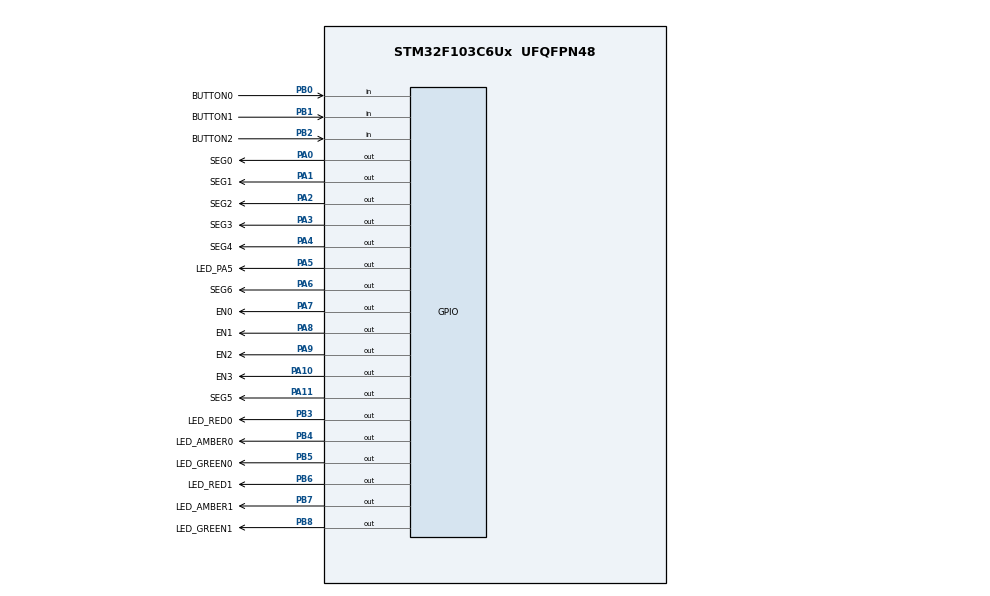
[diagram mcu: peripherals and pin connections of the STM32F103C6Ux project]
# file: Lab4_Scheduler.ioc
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Mcu.Family=STM32F1
Mcu.Name=STM32F103C6Ux
Mcu.Package=UFQFPN48
NVIC.PriorityGroup=NVIC_PRIORITYGROUP_4
NVIC.TIM2_IRQn=true\:0\:0\:false\:false\:true\:true\:true\:true
PA0-WKUP.GPIO_Label=SEG0
PA0-WKUP.Signal=GPIO_Output
PA1.GPIO_Label=SEG1
PA1.Signal=GPIO_Output
PA10.GPIO_Label=EN3
PA10.Signal=GPIO_Output
PA11.GPIO_Label=SEG5
PA11.Signal=GPIO_Output
PA2.GPIO_Label=SEG2
PA2.Signal=GPIO_Output
PA3.GPIO_Label=SEG3
PA3.Signal=GPIO_Output
PA4.GPIO_Label=SEG4
PA4.Signal=GPIO_Output
PA5.GPIO_Label=LED_PA5
PA5.Signal=GPIO_Output
PA6.GPIO_Label=SEG6
PA6.Signal=GPIO_Output
PA7.GPIO_Label=EN0
PA7.Signal=GPIO_Output
PA8.GPIO_Label=EN1
PA8.Signal=GPIO_Output
PA9.GPIO_Label=EN2
PA9.Signal=GPIO_Output
PB0.GPIO_Label=BUTTON0
PB0.Signal=GPIO_Input
PB1.GPIO_Label=BUTTON1
PB1.Signal=GPIO_Input
PB2.GPIO_Label=BUTTON2
PB2.Signal=GPIO_Input
PB3.GPIO_Label=LED_RED0
PB3.Signal=GPIO_Output
PB4.GPIO_Label=LED_AMBER0
PB4.Signal=GPIO_Output
PB5.GPIO_Label=LED_GREEN0
PB5.Signal=GPIO_Output
PB6.GPIO_Label=LED_RED1
PB6.Signal=GPIO_Output
PB7.GPIO_Label=LED_AMBER1
PB7.Signal=GPIO_Output
PB8.GPIO_Label=LED_GREEN1
PB8.Signal=GPIO_Output
ProjectManager.HeapSize=0x200
ProjectManager.StackSize=0x400
ProjectManager.TargetToolchain=STM32CubeIDE
RCC.APB1Freq_Value=8000000
RCC.APB2Freq_Value=8000000
TIM2.Period=9
TIM2.Prescaler=7999
VP_SYS_VS_ND.Mode=No_Debug
VP_TIM2_VS_ClockSourceINT.Mode=Internal
board=custom

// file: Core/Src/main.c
/* USER CODE BEGIN Header */
/**
  ******************************************************************************
  * @file           : main.c
  * @brief          : Main program body
  ******************************************************************************
  * @attention
  *
  * Copyright (c) 2025 STMicroelectronics.
  * All rights reserved.
  *
  * This software is licensed under terms that can be found in the LICENSE file
  * in the root directory of this software component.
  * If no LICENSE file comes with this software, it is provided AS-IS.
  *
  ******************************************************************************
  */
/* USER CODE END Header */
#include "main.h"

/* USER CODE BEGIN Includes */
#include "auto_mode.h"
#include "configure_mode.h"
#include "button.h"
#include "software_timer.h"
#include "control_display.h"
#include "scheduler.h"
/* USER CODE END Includes */

TIM_HandleTypeDef htim2;

void SystemClock_Config(void);
static void MX_GPIO_Init(void);
static void MX_TIM2_Init(void);

/* USER CODE BEGIN 0 */
void Display4LED(){
	if(index_led > 3) index_led = 0;
	update7SEG(index_led++);
}
void ModeDisplay(){
	auto_mode();
	configure_mode();
}
void DisplayLEDPA5(){
	HAL_GPIO_TogglePin(LED_PA5_GPIO_Port, LED_PA5_Pin);
}
/* USER CODE END 0 */

int main(void)
{

  /* MCU Configuration--------------------------------------------------------*/

  /* Reset of all peripherals, Initializes the Flash interface and the Systick. */
  HAL_Init();

  /* Configure the system clock */
  SystemClock_Config();

  /* Initialize all configured peripherals */
  MX_GPIO_Init();
  MX_TIM2_Init();
  /* USER CODE BEGIN 2 */
  HAL_TIM_Base_Start_IT(&htim2);
  /* USER CODE END 2 */

  /* Infinite loop */
  /* USER CODE BEGIN WHILE */
init_running();
SCH_Intit();
SCH_Add_Task(button_reading, 10, TIME_BUTTON_SCAN);
SCH_Add_Task(timer_run, 20, TIMER_CYCLE);
SCH_Add_Task(ModeDisplay, 30, TIME_SCAN);
SCH_Add_Task(Display4LED, 50, 50);
int IDPA5 = SCH_Add_Task(DisplayLEDPA5, 70, 500);
setTimer(0, 5000);
setTimer(1, 10000);
  while (1)
  {
	  if(istimer_flag(0) == 1){
		  SCH_Delete_Task(IDPA5);
	  }
	  if(istimer_flag(1) == 1){
		  SCH_Add_Task(DisplayLEDPA5, 10, 500);
	  }
	  SCH_Dispatch_Tasks();
    /* USER CODE END WHILE */

  }
}

void SystemClock_Config(void)
{
  RCC_OscInitTypeDef RCC_OscInitStruct = {0};
  RCC_ClkInitTypeDef RCC_ClkInitStruct = {0};

  /** Initializes the RCC Oscillators according to the specified parameters
  * in the RCC_OscInitTypeDef structure.
  */
  RCC_OscInitStruct.OscillatorType = RCC_OSCILLATORTYPE_HSI;
  RCC_OscInitStruct.HSIState = RCC_HSI_ON;
  RCC_OscInitStruct.HSICalibrationValue = RCC_HSICALIBRATION_DEFAULT;
  RCC_OscInitStruct.PLL.PLLState = RCC_PLL_NONE;
  if (HAL_RCC_OscConfig(&RCC_OscInitStruct) != HAL_OK)
  {
    Error_Handler();
  }

  /** Initializes the CPU, AHB and APB buses clocks
  */
  RCC_ClkInitStruct.ClockType = RCC_CLOCKTYPE_HCLK|RCC_CLOCKTYPE_SYSCLK
                              |RCC_CLOCKTYPE_PCLK1|RCC_CLOCKTYPE_PCLK2;
  RCC_ClkInitStruct.SYSCLKSource = RCC_SYSCLKSOURCE_HSI;
  RCC_ClkInitStruct.AHBCLKDivider = RCC_SYSCLK_DIV1;
  RCC_ClkInitStruct.APB1CLKDivider = RCC_HCLK_DIV1;
  RCC_ClkInitStruct.APB2CLKDivider = RCC_HCLK_DIV1;

  if (HAL_RCC_ClockConfig(&RCC_ClkInitStruct, FLASH_LATENCY_0) != HAL_OK)
  {
    Error_Handler();
  }
}

static void MX_TIM2_Init(void)
{

  TIM_ClockConfigTypeDef sClockSourceConfig = {0};
  TIM_MasterConfigTypeDef sMasterConfig = {0};

  htim2.Instance = TIM2;
  htim2.Init.Prescaler = 7999;
  htim2.Init.CounterMode = TIM_COUNTERMODE_UP;
  htim2.Init.Period = 9;
  htim2.Init.ClockDivision = TIM_CLOCKDIVISION_DIV1;
  htim2.Init.AutoReloadPreload = TIM_AUTORELOAD_PRELOAD_DISABLE;
  if (HAL_TIM_Base_Init(&htim2) != HAL_OK)
  {
    Error_Handler();
  }
  sClockSourceConfig.ClockSource = TIM_CLOCKSOURCE_INTERNAL;
  if (HAL_TIM_ConfigClockSource(&htim2, &sClockSourceConfig) != HAL_OK)
  {
    Error_Handler();
  }
  sMasterConfig.MasterOutputTrigger = TIM_TRGO_RESET;
  sMasterConfig.MasterSlaveMode = TIM_MASTERSLAVEMODE_DISABLE;
  if (HAL_TIMEx_MasterConfigSynchronization(&htim2, &sMasterConfig) != HAL_OK)
  {
    Error_Handler();
  }

}

static void MX_GPIO_Init(void)
{
  GPIO_InitTypeDef GPIO_InitStruct = {0};

  /* GPIO Ports Clock Enable */
  __HAL_RCC_GPIOA_CLK_ENABLE();
  __HAL_RCC_GPIOB_CLK_ENABLE();

  /*Configure GPIO pin Output Level */
  HAL_GPIO_WritePin(GPIOA, SEG0_Pin|SEG1_Pin|SEG2_Pin|SEG3_Pin
                          |SEG4_Pin|LED_PA5_Pin|SEG6_Pin|EN0_Pin
                          |EN1_Pin|EN2_Pin|EN3_Pin|SEG5_Pin, GPIO_PIN_RESET);

  /*Configure GPIO pin Output Level */
  HAL_GPIO_WritePin(GPIOB, LED_RED0_Pin|LED_AMBER0_Pin|LED_GREEN0_Pin|LED_RED1_Pin
                          |LED_AMBER1_Pin|LED_GREEN1_Pin, GPIO_PIN_RESET);

  /*Configure GPIO pins : SEG0_Pin SEG1_Pin SEG2_Pin SEG3_Pin
                           SEG4_Pin LED_PA5_Pin SEG6_Pin EN0_Pin
                           EN1_Pin EN2_Pin EN3_Pin SEG5_Pin */
  GPIO_InitStruct.Pin = SEG0_Pin|SEG1_Pin|SEG2_Pin|SEG3_Pin
                          |SEG4_Pin|LED_PA5_Pin|SEG6_Pin|EN0_Pin
                          |EN1_Pin|EN2_Pin|EN3_Pin|SEG5_Pin;
  GPIO_InitStruct.Mode = GPIO_MODE_OUTPUT_PP;
  GPIO_InitStruct.Pull = GPIO_NOPULL;
  GPIO_InitStruct.Speed = GPIO_SPEED_FREQ_LOW;
  HAL_GPIO_Init(GPIOA, &GPIO_InitStruct);

  /*Configure GPIO pins : BUTTON0_Pin BUTTON1_Pin BUTTON2_Pin */
  GPIO_InitStruct.Pin = BUTTON0_Pin|BUTTON1_Pin|BUTTON2_Pin;
  GPIO_InitStruct.Mode = GPIO_MODE_INPUT;
  GPIO_InitStruct.Pull = GPIO_NOPULL;
  HAL_GPIO_Init(GPIOB, &GPIO_InitStruct);

  /*Configure GPIO pins : LED_RED0_Pin LED_AMBER0_Pin LED_GREEN0_Pin LED_RED1_Pin
                           LED_AMBER1_Pin LED_GREEN1_Pin */
  GPIO_InitStruct.Pin = LED_RED0_Pin|LED_AMBER0_Pin|LED_GREEN0_Pin|LED_RED1_Pin
                          |LED_AMBER1_Pin|LED_GREEN1_Pin;
  GPIO_InitStruct.Mode = GPIO_MODE_OUTPUT_PP;
  GPIO_InitStruct.Pull = GPIO_NOPULL;
  GPIO_InitStruct.Speed = GPIO_SPEED_FREQ_LOW;
  HAL_GPIO_Init(GPIOB, &GPIO_InitStruct);

}

void Error_Handler(void)
{
  __disable_irq();
  while (1)
  {
  }
}
